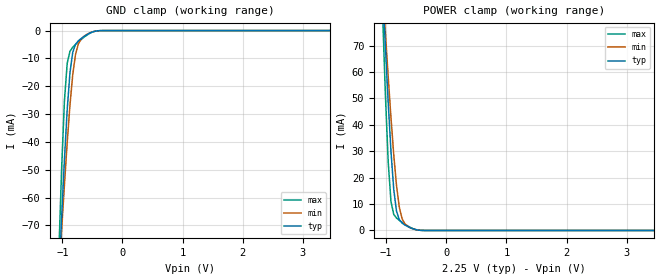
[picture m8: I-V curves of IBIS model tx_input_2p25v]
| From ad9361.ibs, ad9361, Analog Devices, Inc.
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|   Model: tx_input_2p25v
[Model]   tx_input_2p25v
Model_type Input
Vinl=0.375
Vinh=2.125
|   variable   typ   min   max
C_comp   5.374554E-13 4.573817e-13 5.723049E-13
[C Comp Corner]
C_comp   4.573817e-13 5.374554E-13 5.723049E-13
[Temperature Range]   25   85   -40
[Voltage Range]   2.25   2   2.625
[Power Clamp Reference]  2.25   2   2.625
[GND Clamp Reference]   0   0   0
[Pullup Reference]   2.25   2   2.625
[Pulldown Reference]   0   0   0
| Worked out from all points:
|   GND clamp passes 1 mA (typ) near -0.55 V on its own axis
|   POWER clamp passes 1 mA (typ) near -0.59 V on its own axis
[POWER_clamp]
| Voltage   I(typ)   I(min)   I(max)
-2.25V    758.5mA    585mA      1.064A
-1.056V   91.6mA     91.71mA    81.27mA
-1.01V    69.31mA    74.66mA    50.95mA
-964.3mV  48.45mA    58.25mA    25.93mA
-918.4mV  29.96mA    42.77mA    11mA
-872.4mV  15.62mA    28.75mA    6.12mA
-826.5mV  7.344mA    17.08mA    4.702mA
-780.6mV  4.069mA    8.909mA    3.864mA
-734.7mV  2.808mA    4.54mA     3.121mA
-596.9mV  1.035mA    991.2uA    1.17mA
-367.3mV  12.51uA    16.97uA    8.336uA
4.5V      -2.684nA   -19.17nA   -199.2pA
[GND_clamp]
| Voltage   I(typ)   I(min)   I(max)
-2.25V    -753.4mA   -580.1mA   -1.059A
-1.056V   -88.67mA   -88.22mA   -78.71mA
-1.01V    -66.66mA   -71.38mA   -48.96mA
-964.3mV  -46.19mA   -55.25mA   -25.09mA
-918.4mV  -28.35mA   -40.16mA   -11.69mA
-872.4mV  -15.03mA   -26.7mA    -7.416mA
-826.5mV  -7.805mA   -15.83mA   -5.976mA
-780.6mV  -4.962mA   -8.594mA   -5.001mA
-734.7mV  -3.72mA    -4.864mA   -4.107mA
-551mV    -1.001mA   -916.1uA   -1.063mA
-321.4mV  -5.147uA   -8.309uA   -2.147uA
4.5V      2.413nA    17.88nA    77.97pA
